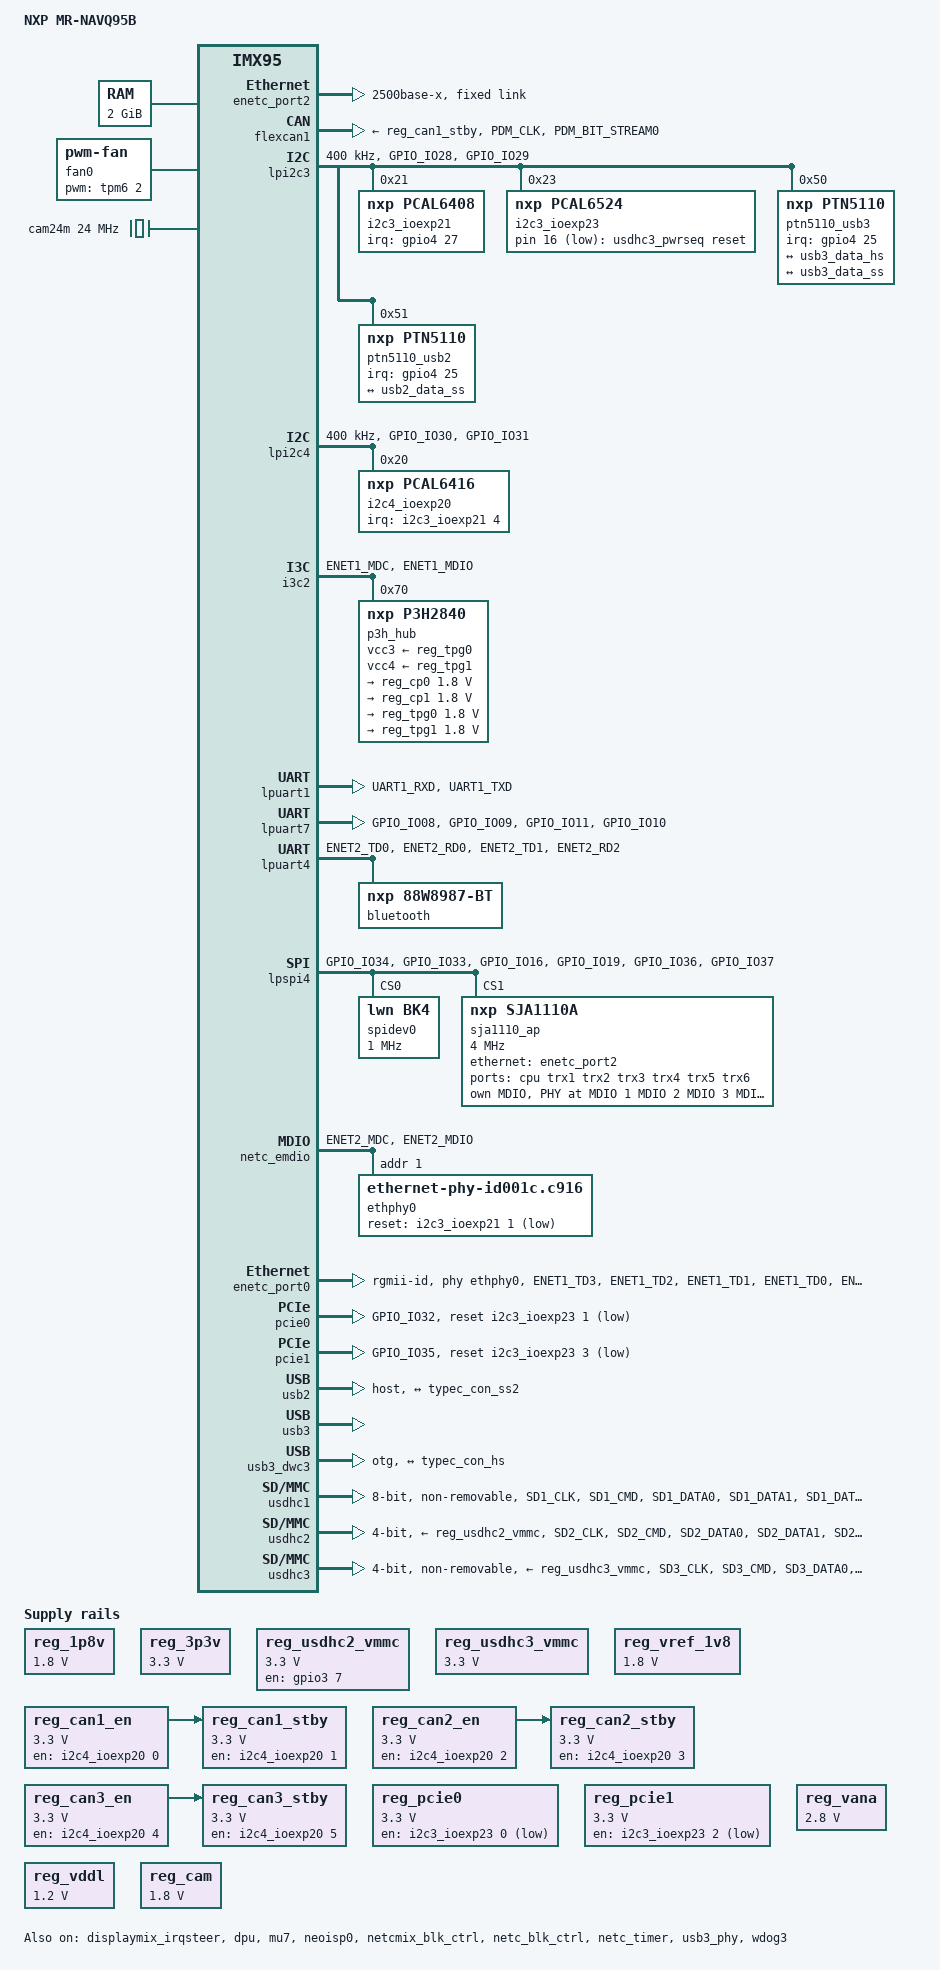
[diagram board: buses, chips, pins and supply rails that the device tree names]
// SPDX-License-Identifier: (GPL-2.0+ OR MIT)
/*
 * Copyright 2026 NXP
 */

/dts-v1/;

#include <dt-bindings/pwm/pwm.h>
#include <dt-bindings/phy/phy-imx8-pcie.h>
#include <dt-bindings/usb/pd.h>
#include "imx95.dtsi"

#define FALLING_EDGE			1
#define RISING_EDGE			2

#define BRD_SM_CTRL_SD3_WAKE		0x8000	/* PCAL6408A-0 */
#define BRD_SM_CTRL_PCIE1_WAKE		0x8001	/* PCAL6408A-4 */
#define BRD_SM_CTRL_BT_WAKE		0x8002	/* PCAL6408A-5 */
#define BRD_SM_CTRL_PCIE2_WAKE		0x8003	/* PCAL6408A-6 */
#define BRD_SM_CTRL_BUTTON		0x8004	/* PCAL6408A-7 */

&ele_if0 {
	memory-region = <&ele_reserved>;
};

/ {
	model = "NXP MR-NAVQ95B";
	compatible = "fsl,imx95-navqb", "fsl,imx95";

	aliases {
		ethernet0 = &enetc_port0;
		ethernet1 = &enetc_port2;
		mmc0 = &usdhc1;
		mmc1 = &usdhc2;
		serial0 = &lpuart1;
	};

	chosen {
		stdout-path = &lpuart1;
		#address-cells = <2>;
		#size-cells = <2>;
		/* will be updated by U-boot when booting Xen */
		module@0 {
			bootargs = "earlycon=xen console=hvc0 loglevel=8 root=/dev/mmcblk1p2 rw rootwait";
			compatible = "xen,linux-zimage", "xen,multiboot-module";
			reg = <0x00000000 0x9e000000 0x00000000 0x2000000>;
		};
	};

	memory@80000000 {
		device_type = "memory";
		reg = <0x0 0x80000000 0 0x80000000>;
	};

	fan0: pwm-fan {
		compatible = "pwm-fan";
		#cooling-cells = <2>;
		pwms = <&tpm6 2 4000000 PWM_POLARITY_INVERTED>;
		cooling-levels = <64 128 192 255>;
	};

	reserved-memory {
		#address-cells = <2>;
		#size-cells = <2>;
		ranges;

		linux_cma: linux,cma {
			compatible = "shared-dma-pool";
			alloc-ranges = <0 0x80000000 0 0x7f000000>;
			size = <0 0x3c000000>;
			linux,cma-default;
			reusable;
		};

		vpu_boot: vpu_boot@a0000000 {
			reg = <0 0xa0000000 0 0x100000>;
			no-map;
		};

		mali_protected: mali_protected {
			reg = <0 0xa0100000 0 0x1000000>;
			no-map;
		};

		vdev0vring0: vdev0vring0@88000000 {
			reg = <0 0x88000000 0 0x8000>;
			no-map;
		};

		vdev0vring1: vdev0vring1@88008000 {
			reg = <0 0x88008000 0 0x8000>;
			no-map;
		};

		vdev1vring0: vdev1vring0@88010000 {
			reg = <0 0x88010000 0 0x8000>;
			no-map;
		};

		vdev1vring1: vdev1vring1@88018000 {
			reg = <0 0x88018000 0 0x8000>;
			no-map;
		};

		rsc_table: rsc-table@88220000 {
			reg = <0 0x88220000 0 0x1000>;
			no-map;
		};

		vdevbuffer: vdevbuffer@88020000 {
			compatible = "shared-dma-pool";
			reg = <0 0x88020000 0 0x100000>;
			no-map;
		};

		ele_reserved: ele-reserved@a4120000 {
			compatible = "shared-dma-pool";
			reg = <0 0xa4120000 0 0x100000>;
			no-map;
		};

		m7text: m7text@90000000 {
			reg = <0 0x90000000 0 0x400000>;
			no-map;
		};

                uboolspl: uboolspl@88240000 {
	                reg = <0 0x88240000 0 0x58000>;
			no-map;
                };
	};

	reg_1p8v: regulator-1p8v {
		compatible = "regulator-fixed";
		regulator-max-microvolt = <1800000>;
		regulator-min-microvolt = <1800000>;
		regulator-name = "+V1.8_SW";
	};

	reg_3p3v: regulator-3p3v {
		compatible = "regulator-fixed";
		regulator-max-microvolt = <3300000>;
		regulator-min-microvolt = <3300000>;
		regulator-name = "+V3.3_SW";
	};

	reg_usdhc2_vmmc: regulator-usdhc2 {
		compatible = "regulator-fixed";
		pinctrl-names = "default";
		pinctrl-0 = <&pinctrl_reg_usdhc2_vmmc>;
		regulator-name = "VDD_SD2_3V3";
		regulator-min-microvolt = <3300000>;
		regulator-max-microvolt = <3300000>;
		gpio = <&gpio3 7 GPIO_ACTIVE_HIGH>;
		enable-active-high;
		off-on-delay-us = <12000>;
	};

	reg_usdhc3_vmmc: regulator-usdhc3 {
		compatible = "regulator-fixed";
		regulator-name = "vmmcusdhc3_fixed";
		regulator-min-microvolt = <3300000>;
		regulator-max-microvolt = <3300000>;
	};

	reg_vref_1v8: regulator-adc-vref {
		compatible = "regulator-fixed";
		regulator-name = "vref_1v8";
		regulator-min-microvolt = <1800000>;
		regulator-max-microvolt = <1800000>;
	};

	reg_can1_stby: regulator-can1-stby {
		compatible = "regulator-fixed";
		regulator-name = "can1-stby";
		regulator-min-microvolt = <3300000>;
		regulator-max-microvolt = <3300000>;
		gpio = <&i2c4_ioexp20 1 GPIO_ACTIVE_HIGH>;
		enable-active-high;
		vin-supply = <&reg_can1_en>;
	};

	reg_can1_en: regulator-can1-en {
		compatible = "regulator-fixed";
		regulator-name = "can1-en";
		regulator-min-microvolt = <3300000>;
		regulator-max-microvolt = <3300000>;
		gpio = <&i2c4_ioexp20 0 GPIO_ACTIVE_HIGH>;
		enable-active-high;
	};

	reg_can2_stby: regulator-can2-stby {
		compatible = "regulator-fixed";
		regulator-name = "can2-stby";
		regulator-min-microvolt = <3300000>;
		regulator-max-microvolt = <3300000>;
		gpio = <&i2c4_ioexp20 3 GPIO_ACTIVE_HIGH>;
		enable-active-high;
		vin-supply = <&reg_can2_en>;
	};

	reg_can2_en: regulator-can2-en {
		compatible = "regulator-fixed";
		regulator-name = "can2-en";
		regulator-min-microvolt = <3300000>;
		regulator-max-microvolt = <3300000>;
		gpio = <&i2c4_ioexp20 2 GPIO_ACTIVE_HIGH>;
		enable-active-high;
	};

	reg_can3_stby: regulator-can3-stby {
		compatible = "regulator-fixed";
		regulator-name = "can3-stby";
		regulator-min-microvolt = <3300000>;
		regulator-max-microvolt = <3300000>;
		gpio = <&i2c4_ioexp20 5 GPIO_ACTIVE_HIGH>;
		enable-active-high;
		vin-supply = <&reg_can3_en>;
	};

	reg_can3_en: regulator-can3-en {
		compatible = "regulator-fixed";
		regulator-name = "can3-en";
		regulator-min-microvolt = <3300000>;
		regulator-max-microvolt = <3300000>;
		gpio = <&i2c4_ioexp20 4 GPIO_ACTIVE_HIGH>;
		enable-active-high;
	};

	usdhc3_pwrseq: usdhc3-pwrseq {
		compatible = "mmc-pwrseq-simple";
		reset-gpios = <&i2c3_ioexp23 16 (GPIO_ACTIVE_LOW | GPIO_OPEN_DRAIN)>;
		post-power-on-delay-ms = <200>;
	};

	reg_pcie0: regulator-pcie0 {
		compatible = "regulator-fixed";
		regulator-name = "M2_KEYM_PWREN_B";
		regulator-min-microvolt = <3300000>;
		regulator-max-microvolt = <3300000>;
		gpio = <&i2c3_ioexp23 0 (GPIO_ACTIVE_LOW | GPIO_OPEN_DRAIN)>;
		enable-active-low;
		/*
		 * This endpoint needs a clean power cycle and a long settle
		 * before PERST# is de-asserted (see fsl,ep-power-cycle on the
		 * PCIe port, which power-cycles this rail with PERST# held):
		 *  - off-on-delay-us:  minimum off time during the power cycle.
		 *  - startup-delay-us: supply-stable-to-ready time the endpoint
		 *    needs after its 3.3V rail comes up.
		 */
		off-on-delay-us = <100000>;
		startup-delay-us = <2300000>;
	};

	reg_pcie1: regulator-pcie1 {
		compatible = "regulator-fixed";
		regulator-name = "M2_KEYB_PWREN_B";
		regulator-min-microvolt = <3300000>;
		regulator-max-microvolt = <3300000>;
		gpio = <&i2c3_ioexp23 2 (GPIO_ACTIVE_LOW | GPIO_OPEN_DRAIN)>;
		enable-active-low;
		regulator-always-on;
	};

	reg_vana: regulator-2p8v {
		compatible = "regulator-fixed";
		regulator-name = "2P8V";
		regulator-min-microvolt = <2800000>;
		regulator-max-microvolt = <2800000>;
	};

	reg_vddl: regulator-1p2v {
		compatible = "regulator-fixed";
		regulator-name = "1P2V";
		regulator-min-microvolt = <1200000>;
		regulator-max-microvolt = <1200000>;
	};

	reg_cam: regulator-cam {
		compatible = "regulator-fixed";
		regulator-name = "reg_cam";
		regulator-min-microvolt = <1800000>;
		regulator-max-microvolt = <1800000>;
	};

	cam24m: cam24m {
		compatible = "fixed-clock";
		#clock-cells = <0>;
		clock-frequency = <24000000>;
		clock-output-names = "cam24m";
	};

	cm7: imx95-cm7 {
		compatible = "fsl,imx95-cm7";
		mbox-names = "tx", "rx", "rxdb";
		mboxes = <&mu7 0 1
			  &mu7 1 1
			  &mu7 3 1>;
		memory-region = <&vdevbuffer>, <&vdev0vring0>, <&vdev0vring1>,
				<&vdev1vring0>, <&vdev1vring1>, <&rsc_table>;
		/* cpuid and lmmid must align with SM firmware */
		fsl,cpu-id = <1>;
		fsl,lmm-id = <1>;
		fsl,startup-delay-ms = <50>;
		status = "okay";
	};

	mali_pma: protected-memory-allocator {
		 compatible = "arm,protected-memory-allocator";
		 memory-region = <&mali_protected>;
	};

};

&adc1 {
	vref-supply = <&reg_vref_1v8>;
	status = "disabled";
};

&enetc_port1 {
	pinctrl-names = "default";
	pinctrl-0 = <&pinctrl_enetc1>;
	phy-mode = "rgmii-id";
	status = "disabled";

	fixed-link {
		speed = <1000>;
		full-duplex;
	};
};

&enetc_port2 {
	phy-mode = "2500base-x";
	status = "disabled";

	fixed-link {
		speed = <2500>;
		full-duplex;
	};
};

&displaymix_irqsteer {
	status = "okay";
};

&dpu {
	status = "okay";
};

/* The M7 also uses the AON.EDMA and sharing isn't supported yet in Linux */
&edma1 {
	status = "disabled";
};

&edma2 {
	dma-channels = <30>;
};

&flexcan1 {
	pinctrl-names = "default";
	pinctrl-0 = <&pinctrl_flexcan1>;
	xceiver-supply = <&reg_can1_stby>;
	status = "okay";
};

&flexcan2 {
	pinctrl-names = "default";
	pinctrl-0 = <&pinctrl_flexcan2>;
	xceiver-supply = <&reg_can2_stby>;
	status = "disabled";
};

&flexcan3 {
	pinctrl-names = "default";
	pinctrl-0 = <&pinctrl_flexcan3>;
	xceiver-supply = <&reg_can3_stby>;
	status = "disabled";
};

&flexspi1 {
	pinctrl-names = "default";
	pinctrl-0 = <&pinctrl_flexspi1>;
	status = "disabled";

	/* TODO co-existence with M7/M33 if even possible */

	mt35xu01gbba: flash@0 {
		compatible = "jedec,spi-nor";
		reg = <0>;
		pinctrl-names = "default";
		pinctrl-0 = <&pinctrl_flexspi1_reset>;
		reset-gpios = <&gpio5 11 GPIO_ACTIVE_LOW>;
		#address-cells = <1>;
		#size-cells = <1>;
		spi-max-frequency = <200000000>;
		spi-tx-bus-width = <8>;
		spi-rx-bus-width = <8>;
	};
};

&lpi2c3 {
	#address-cells = <1>;
	#size-cells = <0>;
	clock-frequency = <400000>;
	pinctrl-names = "default", "sleep";
	pinctrl-0 = <&pinctrl_lpi2c3>;
	pinctrl-1 = <&pinctrl_lpi2c3>;
	status = "okay";

	i2c3_ioexp21: i2c3-gpio@21 {
		compatible = "nxp,pcal6408";
		reg = <0x21>;
		gpio-controller;
		#gpio-cells = <2>;

		pinctrl-names = "default";
		pinctrl-0 = <&pinctrl_i2c3_ioexp21>;
		interrupt-controller;
		#interrupt-cells = <2>;
		interrupt-parent = <&gpio4>;
		interrupts = <27 IRQ_TYPE_LEVEL_LOW>;

		status = "okay";

		rtl8211_pme_int_b: rtl8211-pme-int-b {
			gpio-hog;
			gpios = <0 (GPIO_ACTIVE_LOW)>;
			input;
		};

		// rtl8211_phyrst_b: rtl8211-pme-int-b {
		// 	gpio-hog;
		// 	gpios = <1 (GPIO_ACTIVE_LOW  | GPIO_OPEN_DRAIN)>;
		// 	output-low;
		// };

		/* eth_wake_int can be used for both these SJA1110 i/o depending on R552 and R580:
		 *	- WAKE_IN_OUT (wakeup)
		 *	- INT_N (interrupt)
		 * TODO: remove one resistor; INT_N recommends a pullup but WAKE_IN_OUT pulls it to ground
		 */
		eth_wake_int: eth-wake-int {
			gpio-hog;
			gpios = <2 (GPIO_ACTIVE_LOW)>;
			input;
		};

		// io_wake_int: io-wake-int {
		// 	gpio-hog;
		// 	gpios = <4 (GPIO_ACTIVE_LOW)>;
		// 	input;
		// };
	};

	i2c3_ioexp23: i2c3-gpio@23 {
		compatible = "nxp,pcal6524";
		reg = <0x23>;
		gpio-controller;
		#gpio-cells = <2>;
		status = "okay";

		// m2_keym_pwren_b: m2-keym-pwren-b {
		// 	gpio-hog;
		// 	gpios = <0 (GPIO_ACTIVE_LOW | GPIO_OPEN_DRAIN)>;
		// 	output-high;
		// };

		// m2_keym_perst_b: m2-keym-perst-b {
		// 	gpio-hog;
		// 	gpios = <1 (GPIO_ACTIVE_LOW | GPIO_OPEN_DRAIN)>;
		// 	output-low;
		// };

		// m2_keyb_pwren_b: m2-keyb-pwren-b {
		// 	gpio-hog;
		// 	gpios = <2 (GPIO_ACTIVE_LOW | GPIO_OPEN_DRAIN)>;
		// 	output-high;
		// };

		// m2_keyb_perst_b: m2-keyb-perst-b {
		// 	gpio-hog;
		// 	gpios = <3 (GPIO_ACTIVE_LOW | GPIO_OPEN_DRAIN)>;
		// 	output-low;
		// };

		m2_keyb_fcpo_b: m2-keyb-fcpo-b {
			gpio-hog;
			gpios = <4 (GPIO_ACTIVE_LOW | GPIO_OPEN_DRAIN)>;
			output-low;
		};

		m2_keyb_reset_b: m2-keyb-reset-b {
			gpio-hog;
			gpios = <5 (GPIO_ACTIVE_LOW | GPIO_OPEN_DRAIN)>;
			output-low;
		};

		m2_keyb_wdisable1_b: m2-keyb-wdisable1-b {
			gpio-hog;
			gpios = <6 (GPIO_ACTIVE_LOW | GPIO_OPEN_DRAIN)>;
			output-low;
		};

		m2_keyb_wdisable2_b: m2-keyb-wdisable2-b {
			gpio-hog;
			gpios = <7 (GPIO_ACTIVE_LOW | GPIO_OPEN_DRAIN)>;
			output-low;
		};

		m2_keym_pedet: m2-keym-pedet {
			gpio-hog;
			gpios = <8 GPIO_ACTIVE_LOW>;
			input;
		};

		m2_keyb_config0: m2-keyb-config0 {
			gpio-hog;
			gpios = <9 GPIO_ACTIVE_LOW>;
			input;
		};

		m2_keyb_config1: m2-keyb-config1 {
			gpio-hog;
			gpios = <10 GPIO_ACTIVE_LOW>;
			input;
		};

		m2_keyb_config2: m2-keyb-config2 {
			gpio-hog;
			gpios = <11 GPIO_ACTIVE_LOW>;
			input;
		};

		m2_keyb_config3: m2-keyb-config3 {
			gpio-hog;
			gpios = <12 GPIO_ACTIVE_LOW>;
			input;
		};

		m2_keyb_gpio5: m2-keyb-gpio5 {
			gpio-hog;
			gpios = <13 GPIO_ACTIVE_LOW>;
			input;
		};

		m2_keyb_gpio6: m2-keyb-gpio6 {
			gpio-hog;
			gpios = <14 GPIO_ACTIVE_LOW>;
			input;
		};

		m2_keyb_gpio7: m2-keyb-gpio7 {
			gpio-hog;
			gpios = <15 GPIO_ACTIVE_LOW>;
			input;
		};

		// iw612_pd_b: iw612-pd-b {
		// 	gpio-hog;
		// 	gpios = <16 (GPIO_ACTIVE_LOW | GPIO_OPEN_DRAIN)>;
		// 	output-low;
		// };

		iw612_ind_rst_wl: iw612-ind-rst-wl {
			gpio-hog;
			gpios = <17 GPIO_ACTIVE_HIGH>;
			output-low;
		};

		iw612_ind_rst_bt: iw612-ind-rst-bt {
			gpio-hog;
			gpios = <18 GPIO_ACTIVE_HIGH>;
			output-low;
		};

		iw612_ind_rst_15_4: iw612-ind-rst-15_4 {
			gpio-hog;
			gpios = <19 GPIO_ACTIVE_HIGH>;
			output-low;
		};

		iw612_rst_ind: iw612-rst-ind {
			gpio-hog;
			gpios = <20 GPIO_ACTIVE_HIGH>;
			input;
		};

		iw612_wl_wake_in: iw612-wl-wake-in {
			gpio-hog;
			gpios = <21 GPIO_ACTIVE_HIGH>;
			output-low;
		};

		iw612_bt15_4_wake_in: iw612-bt15-4-wake-in {
			gpio-hog;
			gpios = <22 GPIO_ACTIVE_HIGH>;
			output-low;
		};

		p3h_cp_sel: p3h-cp-sel {
			gpio-hog;
			gpios = <23 GPIO_ACTIVE_HIGH>;
			/* set to CP0 */
			output-high;
		};
	};

	ptn5110_usb3: tcpc_usb3@50 {
		compatible = "nxp,ptn5110", "tcpci";
		reg = <0x50>;
		pinctrl-names = "default";
		interrupt-parent = <&gpio4>;
		interrupts = <25 IRQ_TYPE_LEVEL_LOW>; // 25 = USB_PTN5110_ALERT_B (ENET2_RD1)


		typec_con3: connector {
			compatible = "usb-c-connector";
			label = "USB1 3.0 Type C";
			power-role = "source";
			data-role = "dual";
			try-power-role = "source";
			source-pdos = <PDO_FIXED(5000, 3000, PDO_FIXED_USB_COMM)>;
			op-sink-microwatt = <0>;
			self-powered;

			ports {
				#address-cells = <1>;
				#size-cells = <0>;

				port@0 {
					reg = <0>;

					typec_con_hs: endpoint {
						remote-endpoint = <&usb3_data_hs>;
					};
				};

				port@1 {
					reg = <1>;

					typec_con_ss: endpoint {
						remote-endpoint = <&usb3_data_ss>;
					};
				};
			};
		};
	};

	ptn5110_usb2: tcpc_usb2@51 {
		compatible = "nxp,ptn5110", "tcpci";
		reg = <0x51>;
		pinctrl-names = "default";
		pinctrl-0 = <&pinctrl_ptn5110_usb>;
		interrupt-parent = <&gpio4>;
		interrupts = <25 IRQ_TYPE_LEVEL_LOW>; // 25 = USB_PTN5110_ALERT_B (ENET2_RD1)

		typec_con2: connector {
			compatible = "usb-c-connector";
			label = "USB2 2.0 Type C";
			power-role = "source";
			data-role = "dual";
			try-power-role = "source";
			source-pdos = <PDO_FIXED(5000, 3000, PDO_FIXED_USB_COMM)>;
			op-sink-microwatt = <0>;
			self-powered;

			ports {
				#address-cells = <1>;
				#size-cells = <0>;

				port@1 {
					reg = <1>;
					typec_con_ss2: endpoint {
						remote-endpoint = <&usb2_data_ss>;
					};
				};
			};
		};
	};
};

&lpi2c4 {
	#address-cells = <1>;
	#size-cells = <0>;
	clock-frequency = <400000>;
	pinctrl-names = "default", "sleep";
	pinctrl-0 = <&pinctrl_lpi2c4>;
	pinctrl-1 = <&pinctrl_lpi2c4>;
	status = "okay";

	i2c4_ioexp20: i2c4-gpio@20 {
		compatible = "nxp,pcal6416";
		reg = <0x20>;
		gpio-controller;
		#gpio-cells = <2>;

		interrupt-controller;
		#interrupt-cells = <2>;
		interrupt-parent = <&i2c3_ioexp21>;
		interrupts = <4 IRQ_TYPE_EDGE_FALLING>;

		status = "okay";

		can_power_en: can-power-en {
			gpio-hog;
			gpios = <7 GPIO_ACTIVE_HIGH>;
			output-high;
		};

		can1_err_n: can1-err-n {
			gpio-hog;
			gpios = <8 GPIO_ACTIVE_LOW>;
			input;
		};

		can2_err_n: can2-err-n {
			gpio-hog;
			gpios = <9 GPIO_ACTIVE_LOW>;
			input;
		};

		can3_err_n: can3-err-n {
			gpio-hog;
			gpios = <10 GPIO_ACTIVE_LOW>;
			input;
		};

		led_r: led-r {
			gpio-hog;
			gpios = <11 GPIO_ACTIVE_HIGH>;
			output-low;
		};

		led_g: led-g {
			gpio-hog;
			gpios = <12 GPIO_ACTIVE_HIGH>;
			output-high;
		};

		led_b: led-b {
			gpio-hog;
			gpios = <13 GPIO_ACTIVE_HIGH>;
			output-high;
		};

		sw_led_out: sw-led-out {
			gpio-hog;
			gpios = <15 GPIO_ACTIVE_HIGH>;
			output-high;
		};
	};
};

&i3c2 {
	i2c-scl-hz = <400000>;
	pinctrl-0 = <&pinctrl_i3c2>;
	pinctrl-1 = <&pinctrl_i3c2_sleep>;
	pinctrl-names = "default", "sleep";
	status = "okay";

    p3h_hub: hub@70,236153000c2 {
		compatible = "nxp,p3h2840";
		reg = <0x70 0x236 0x3000c2>;
		#address-cells = <1>;
		#size-cells = <0>;
		assigned-address = <0x50>;

		/*
		 * Target ports placed in GPIO mode (gpio@N sub-nodes) are
		 * exposed through a single gpiochip on this node.
		 * Line map: offset 0-7 = TP0-7 SCL pin, 8-15 = TP0-7 SDA pin.
		 */
		gpio-controller;
		#gpio-cells = <2>;

		nxp,tp0145-pullup-ohms = <1000>;
		nxp,tp2367-pullup-ohms = <1000>;
		nxp,cp0-io-strength-ohms = <50>;
		nxp,cp1-io-strength-ohms = <50>;
		nxp,tp0145-io-strength-ohms = <50>;
		nxp,tp2367-io-strength-ohms = <50>;
		vcc3-supply = <&reg_tpg0>;
		vcc4-supply = <&reg_tpg1>;

		regulators {
			reg_cp0: ldo-cp0 {
				regulator-name = "ldo-cp0";
				regulator-min-microvolt = <1800000>;
				regulator-max-microvolt = <1800000>;
			};

			reg_cp1: ldo-cp1 {
				regulator-name = "ldo-cp1";
				regulator-min-microvolt = <1800000>;
				regulator-max-microvolt = <1800000>;
			};

			reg_tpg0: ldo-tpg0 {
				regulator-name = "ldo-tpg0";
				regulator-min-microvolt = <1800000>;
				regulator-max-microvolt = <1800000>;
			};

			reg_tpg1: ldo-tpg1 {
				regulator-name = "ldo-tpg1";
				regulator-min-microvolt = <1800000>;
				regulator-max-microvolt = <1800000>;
			};
		};

		p3h_i3c2a: smbus@0 {
			reg = <0x0>;
			#address-cells = <1>;
			#size-cells = <0>;
            nxp,pullup-enable;
		};

		/*
		 * CAM connector 1 (port A) control bus -> MIPI CSI0.
		 * The camera sensor node is supplied by a camera overlay
		 * (imx95-navqb-cam0-*.dtbo).
		 */
		p3h_i3c2b: smbus@1 {
			reg = <0x1>;
			#address-cells = <1>;
			#size-cells = <0>;
            nxp,pullup-enable;
		};

		p3h_gpio: gpio@2 {
			reg = <0x2>;
			#address-cells = <1>;
			#size-cells = <0>;
            nxp,pullup-enable;
		};

		p3h_m2_bus: smbus@3 {
			reg = <0x3>;
			#address-cells = <1>;
			#size-cells = <0>;
            nxp,pullup-enable;
		};

		p3h_i3c2c: smbus@4 {
			reg = <0x4>;
			#address-cells = <1>;
			#size-cells = <0>;
            nxp,pullup-enable;
			clock-frequency = <100000>;
		};

		p3h_se_smbus: smbus@5 {
			reg = <0x5>;
			#address-cells = <1>;
			#size-cells = <0>;
            nxp,pullup-enable;
		};

		p3h_cam1_io: gpio@6 {
			reg = <0x6>;
			#address-cells = <1>;
			#size-cells = <0>;
			/* TP6 in GPIO mode: SCL = line 6, SDA = line 14.
			 * Used for CAM connector 1 (port A / csi0) reset/enable.
			 */
		};

		p3h_cam2_io: gpio@7 {
			reg = <0x7>;
			#address-cells = <1>;
			#size-cells = <0>;
			/* TP7 in GPIO mode: SCL = line 7, SDA = line 15.
			 * Used for CAM connector 2 (port B / csi1) reset/enable.
			 */
		};
	};
};

&lpuart1 {
	/* console */
	pinctrl-names = "default";
	pinctrl-0 = <&pinctrl_uart1>;
	/delete-property/ dmas;
	/delete-property/ dma-names;
	status = "okay";
};

&lpuart7 {
	/* Lidar */
	pinctrl-names = "default";
	pinctrl-0 = <&pinctrl_uart7>;
	uart-has-rtscts;
	status = "okay";
};

&lpuart4 {
	/* BT */
	pinctrl-names = "default";
	pinctrl-0 = <&pinctrl_uart4>;
	uart-has-rtscts;
	status = "okay";

	bluetooth {
		compatible = "nxp,88w8987-bt";
	};
};

&lpspi4 {
	fsl,spi-num-chipselects = <3>;
	pinctrl-names = "default";
	pinctrl-0 = <&pinctrl_lpspi4>;
	num-cs = <3>;
	status = "okay";

	spidev0: spi@0 { //TODO triradio
		reg = <0>;
		compatible = "lwn,bk4";
		spi-max-frequency = <1000000>;
	};

	sja1110_ap: ethernet-switch@1 { // SPI_HAP_SS0_N s (SPI access point)
		compatible = "nxp,sja1110a";
		reg = <1>;
		spi-max-frequency = <4000000>;
		dsa,member = <0 0>;

		ethernet-ports {
			#address-cells = <1>;
			#size-cells = <0>;

			/* Microcontroller port */
			port@0 {
				reg = <0>;
				status = "disabled";
			};

			/* TODO: TJA1120 */
			port@1 {
				reg = <1>;
				status = "disabled";
			};

			/* TODO: TJA1120 */
			port@2 {
				reg = <2>;
				status = "disabled";
			};

			/* Not used */
			port@3 {
				reg = <3>;
				status = "disabled";
			};

			port@4 {
				reg = <4>;
				label = "cpu";
				phy-mode = "2500base-x";
				ethernet = <&enetc_port2>;
				status = "okay";

				fixed-link {
					speed = <2500>;
					full-duplex;
				};
			};

			port@5 {
				reg = <5>;
				label = "trx1";
				phy-mode = "internal";
				phy-handle = <&sw1_port5_base_t1_phy>;
			};

			port@6 {
				reg = <6>;
				label = "trx2";
				phy-mode = "internal";
				phy-handle = <&sw1_port6_base_t1_phy>;
			};

			port@7 {
				reg = <7>;
				label = "trx3";
				phy-mode = "internal";
				phy-handle = <&sw1_port7_base_t1_phy>;
			};

			port@8 {
				reg = <8>;
				label = "trx4";
				phy-mode = "internal";
				phy-handle = <&sw1_port8_base_t1_phy>;
			};

			port@9 {
				reg = <9>;
				label = "trx5";
				phy-mode = "internal";
				phy-handle = <&sw1_port9_base_t1_phy>;
			};

			port@a {
				reg = <10>;
				label = "trx6";
				phy-mode = "internal";
				phy-handle = <&sw1_port10_base_t1_phy>;
			};
		};

		mdios {
			#address-cells = <1>;
			#size-cells = <0>;

			mdio@0 {
				compatible = "nxp,sja1110-base-t1-mdio";
				#address-cells = <1>;
				#size-cells = <0>;
				reg = <0>;

				sw1_port5_base_t1_phy: ethernet-phy@1 {
					compatible = "ethernet-phy-ieee802.3-c45";
					reg = <0x1>;
				};

				sw1_port6_base_t1_phy: ethernet-phy@2 {
					compatible = "ethernet-phy-ieee802.3-c45";
					reg = <0x2>;
				};

				sw1_port7_base_t1_phy: ethernet-phy@3 {
					compatible = "ethernet-phy-ieee802.3-c45";
					reg = <0x3>;
				};

				sw1_port8_base_t1_phy: ethernet-phy@4 {
					compatible = "ethernet-phy-ieee802.3-c45";
					reg = <0x4>;
				};

				sw1_port9_base_t1_phy: ethernet-phy@5 {
					compatible = "ethernet-phy-ieee802.3-c45";
					reg = <0x5>;
				};

				sw1_port10_base_t1_phy: ethernet-phy@6 {
					compatible = "ethernet-phy-ieee802.3-c45";
					reg = <0x6>;
				};
			};
		};
	};
};

&mu7 {
	status = "okay";
};

&neoisp0 {
	status = "okay";
};

&netcmix_blk_ctrl {
	status = "okay";
};

&netc_blk_ctrl {
	status = "okay";
};

&netc_emdio {
	pinctrl-names = "default";
	pinctrl-0 = <&pinctrl_emdio>;
	status = "okay";

	ethphy0: ethernet-phy@1 {
		compatible = "ethernet-phy-id001c.c916",   /* RTL8211F */
                        "ethernet-phy-ieee802.3-c22";
		reg = <1>;
		reset-gpios = <&i2c3_ioexp21 1 GPIO_ACTIVE_LOW>;
		reset-assert-us = <10000>;
		reset-deassert-us = <80000>;
		realtek,clkout-disable;
	};
};

&enetc_port0 {
	pinctrl-names = "default";
	pinctrl-0 = <&pinctrl_enetc0>;
	phy-handle = <&ethphy0>;
	phy-mode = "rgmii-id";
	status = "okay";
};

&enetc_port2 {
	status = "okay";
};

&netc_timer {
	status = "okay";
};

&pcie0 {
	pinctrl-0 = <&pinctrl_pcie0>;
	pinctrl-names = "default";
	fsl,refclk-pad-mode = <IMX8_PCIE_REFCLK_PAD_OUTPUT>;
	fsl,ep-power-cycle;
	reset-gpio = <&i2c3_ioexp23 1 (GPIO_ACTIVE_LOW | GPIO_OPEN_DRAIN)>;
	vpcie-supply = <&reg_pcie0>;
	status = "okay";
};

&pcie0_ep {
	pinctrl-0 = <&pinctrl_pcie0>;
	pinctrl-names = "default";
	vpcie-supply = <&reg_pcie0>;
	status = "okay";
};

&pcie1 {
	pinctrl-0 = <&pinctrl_pcie1>;
	pinctrl-names = "default";
	fsl,refclk-pad-mode = <IMX8_PCIE_REFCLK_PAD_OUTPUT>;
	reset-gpio = <&i2c3_ioexp23 3 (GPIO_ACTIVE_LOW | GPIO_OPEN_DRAIN)>;
	vpcie-supply = <&reg_pcie1>;
	status = "okay";
};

&pcie1_ep {
	pinctrl-0 = <&pinctrl_pcie1>;
	pinctrl-names = "default";
	fsl,refclk-pad-mode = <IMX8_PCIE_REFCLK_PAD_OUTPUT>;
	vpcie-supply = <&reg_pcie1>;
	status = "okay";
};

&dpu {
	assigned-clocks = <&scmi_clk IMX95_CLK_DISP1PIX>,
			  <&scmi_clk IMX95_CLK_VIDEOPLL1_VCO>,
			  <&scmi_clk IMX95_CLK_VIDEOPLL1>;
	assigned-clock-parents = <&scmi_clk IMX95_CLK_VIDEOPLL1>;
	assigned-clock-rates = <0>, <3000000000>, <333333333>;
};

/*
 * Camera capture pipelines (CSI0 / CSI1 -> formatter -> ISI) and the sensors
 * themselves are provided by camera overlays (imx95-navqb-cam0-*.dtbo for
 * port A, imx95-navqb-cam1-*.dtbo for port B). Port B is a CSI/DSI combo port,
 * so a camera overlay there is mutually exclusive with a display overlay.
 */

&usb2 {
	dr_mode = "host";
	disable-over-current;
	status = "okay";

	port {
		usb2_data_ss: endpoint {
			remote-endpoint = <&typec_con_ss2>;
		};
	};

};

&usb3 {
	status = "okay";
};

&usb3_dwc3 {
	dr_mode = "otg";
	hnp-disable;
	srp-disable;
	adp-disable;
	usb-role-switch;
	role-switch-default-mode = "none";
	snps,dis-u1-entry-quirk;
	snps,dis-u2-entry-quirk;
	status = "okay";

	port {
		usb3_data_hs: endpoint {
			remote-endpoint = <&typec_con_hs>;
		};
	};
};

&usb3_phy {
	fsl,phy-pcs-tx-deemph-3p5db-attenuation-db = <17>;
	fsl,phy-pcs-tx-swing-full-percent = <100>;
	fsl,phy-tx-preemp-amp-tune-microamp = <600>;
	fsl,phy-tx-vboost-level-microvolt = <1156>;
	fsl,phy-tx-vref-tune-percent = <100>;
	orientation-switch;
	status = "okay";

	port {
		usb3_data_ss: endpoint {
			remote-endpoint = <&typec_con_ss>;
		};
	};
};

&usdhc1 {
	pinctrl-names = "default", "state_100mhz", "state_200mhz", "sleep";
	pinctrl-0 = <&pinctrl_usdhc1>;
	pinctrl-1 = <&pinctrl_usdhc1_100mhz>;
	pinctrl-2 = <&pinctrl_usdhc1_200mhz>;
	pinctrl-3 = <&pinctrl_usdhc1>;
	bus-width = <8>;
	non-removable;
	no-sdio;
	no-sd;
	status = "okay";
};

&usdhc2 {
	pinctrl-names = "default", "state_100mhz", "state_200mhz", "sleep";
	pinctrl-0 = <&pinctrl_usdhc2>, <&pinctrl_usdhc2_gpio>;
	pinctrl-1 = <&pinctrl_usdhc2_100mhz>, <&pinctrl_usdhc2_gpio>;
	pinctrl-2 = <&pinctrl_usdhc2_200mhz>, <&pinctrl_usdhc2_gpio>;
	pinctrl-3 = <&pinctrl_usdhc2>, <&pinctrl_usdhc2_gpio>;
	cd-gpios = <&gpio3 0 GPIO_ACTIVE_LOW>;
	fsl,cd-gpio-wakeup-disable;
	vmmc-supply = <&reg_usdhc2_vmmc>;
	bus-width = <4>;
	status = "okay";
};

&usdhc3 {
	pinctrl-names = "default";
	pinctrl-0 = <&pinctrl_usdhc3>;
	vmmc-supply = <&reg_usdhc3_vmmc>;
	mmc-pwrseq = <&usdhc3_pwrseq>;
	bus-width = <4>;
	keep-power-in-suspend;
	non-removable;
	status = "okay";
};

&scmi_misc {
	nxp,ctrl-ids = <BRD_SM_CTRL_SD3_WAKE	FALLING_EDGE
			BRD_SM_CTRL_PCIE1_WAKE	FALLING_EDGE
			BRD_SM_CTRL_BT_WAKE	FALLING_EDGE
			BRD_SM_CTRL_PCIE2_WAKE	FALLING_EDGE
			BRD_SM_CTRL_BUTTON	FALLING_EDGE>;
};

&wdog3 {
	fsl,ext-reset-output;
	status = "okay";
};

&scmi_iomuxc {

	pinctrl_emdio: emdiogrp {
		fsl,pins = <
			IMX95_PAD_ENET2_MDC__NETCMIX_TOP_NETC_MDC		0x57e
			IMX95_PAD_ENET2_MDIO__NETCMIX_TOP_NETC_MDIO		0x97e
		>;
	};

	pinctrl_enetc0: enetc0grp {
		fsl,pins = <
			IMX95_PAD_ENET1_TD3__NETCMIX_TOP_ETH0_RGMII_TD3		0x57e
			IMX95_PAD_ENET1_TD2__NETCMIX_TOP_ETH0_RGMII_TD2		0x57e
			IMX95_PAD_ENET1_TD1__NETCMIX_TOP_ETH0_RGMII_TD1		0x57e
			IMX95_PAD_ENET1_TD0__NETCMIX_TOP_ETH0_RGMII_TD0		0x57e
			IMX95_PAD_ENET1_TX_CTL__NETCMIX_TOP_ETH0_RGMII_TX_CTL	0x57e
			IMX95_PAD_ENET1_TXC__NETCMIX_TOP_ETH0_RGMII_TX_CLK	0x58e
			IMX95_PAD_ENET1_RX_CTL__NETCMIX_TOP_ETH0_RGMII_RX_CTL	0x57e
			IMX95_PAD_ENET1_RXC__NETCMIX_TOP_ETH0_RGMII_RX_CLK	0x58e
			IMX95_PAD_ENET1_RD0__NETCMIX_TOP_ETH0_RGMII_RD0		0x57e
			IMX95_PAD_ENET1_RD1__NETCMIX_TOP_ETH0_RGMII_RD1		0x57e
			IMX95_PAD_ENET1_RD2__NETCMIX_TOP_ETH0_RGMII_RD2		0x57e
			IMX95_PAD_ENET1_RD3__NETCMIX_TOP_ETH0_RGMII_RD3		0x57e
		>;
	};

	pinctrl_enetc1: enetc1grp {
		fsl,pins = <
			IMX95_PAD_ENET2_TD3__NETCMIX_TOP_ETH1_RGMII_TD3		0x03e
			IMX95_PAD_ENET2_TD2__NETCMIX_TOP_ETH1_RGMII_TD2		0x03e
			IMX95_PAD_ENET2_TD1__NETCMIX_TOP_ETH1_RGMII_TD1		0x03e
			IMX95_PAD_ENET2_TD0__NETCMIX_TOP_ETH1_RGMII_TD0		0x03e
			IMX95_PAD_ENET2_TX_CTL__NETCMIX_TOP_ETH1_RGMII_TX_CTL	0x03e
			IMX95_PAD_ENET2_TXC__NETCMIX_TOP_ETH1_RGMII_TX_CLK	0x006
			IMX95_PAD_ENET2_RX_CTL__NETCMIX_TOP_ETH1_RGMII_RX_CTL	0x03e
			IMX95_PAD_ENET2_RXC__NETCMIX_TOP_ETH1_RGMII_RX_CLK	0x006
			IMX95_PAD_ENET2_RD0__NETCMIX_TOP_ETH1_RGMII_RD0		0x03e
			IMX95_PAD_ENET2_RD1__NETCMIX_TOP_ETH1_RGMII_RD1		0x03e
			IMX95_PAD_ENET2_RD2__NETCMIX_TOP_ETH1_RGMII_RD2		0x03e
			IMX95_PAD_ENET2_RD3__NETCMIX_TOP_ETH1_RGMII_RD3		0x03e
		>;
	};

	pinctrl_flexcan1: flexcan1grp {
		fsl,pins = <
			IMX95_PAD_PDM_CLK__AONMIX_TOP_CAN1_TX		0x39e
			IMX95_PAD_PDM_BIT_STREAM0__AONMIX_TOP_CAN1_RX	0x39e
		>;
	};

	pinctrl_flexcan2: flexcan2grp {
		fsl,pins = <
			IMX95_PAD_GPIO_IO25__CAN2_TX			0x39e
			IMX95_PAD_GPIO_IO27__CAN2_RX			0x39e
		>;
	};

	pinctrl_flexcan3: flexcan3grp {
		fsl,pins = <
			IMX95_PAD_CCM_CLKO3__CAN3_TX			0x39e
			IMX95_PAD_CCM_CLKO4__CAN3_RX			0x39e
		>;
	};

	pinctrl_flexspi1: flexspi1grp {
		fsl,pins = <
			IMX95_PAD_XSPI1_SS0_B__FLEXSPI1_A_SS0_B			0x3fe
			IMX95_PAD_XSPI1_SCLK__FLEXSPI1_A_SCLK			0x07e
			IMX95_PAD_XSPI1_DQS__FLEXSPI1_A_DQS			0x07e
			IMX95_PAD_XSPI1_DATA0__FLEXSPI1_A_DATA_BIT0		0x002
			IMX95_PAD_XSPI1_DATA1__FLEXSPI1_A_DATA_BIT1		0x002
			IMX95_PAD_XSPI1_DATA2__FLEXSPI1_A_DATA_BIT2		0x002
			IMX95_PAD_XSPI1_DATA3__FLEXSPI1_A_DATA_BIT3		0x002
			IMX95_PAD_XSPI1_DATA4__FLEXSPI1_A_DATA_BIT4		0x002
			IMX95_PAD_XSPI1_DATA5__FLEXSPI1_A_DATA_BIT5		0x002
			IMX95_PAD_XSPI1_DATA6__FLEXSPI1_A_DATA_BIT6		0x002
			IMX95_PAD_XSPI1_DATA7__FLEXSPI1_A_DATA_BIT7		0x002
		>;
	};

	pinctrl_flexspi1_reset: flexspi1-reset-grp {
		fsl,pins = <
			IMX95_PAD_XSPI1_SS1_B__GPIO5_IO_BIT11			0x3fe
		>;
	};

	pinctrl_lpi2c3: lpi2c3grp {
		fsl,pins = <
			IMX95_PAD_GPIO_IO28__LPI2C3_SDA			0x40000b9e
			IMX95_PAD_GPIO_IO29__LPI2C3_SCL			0x40000b9e
		>;
	};

	pinctrl_lpi2c4: lpi2c4grp {
		fsl,pins = <
			IMX95_PAD_GPIO_IO30__LPI2C4_SDA			0x40000b9e
			IMX95_PAD_GPIO_IO31__LPI2C4_SCL			0x40000b9e
		>;
	};

	pinctrl_pcie0: pcie0grp {
		fsl,pins = <
			IMX95_PAD_GPIO_IO32__HSIOMIX_TOP_PCIE1_CLKREQ_B		0x40000b1e
		>;
	};

	pinctrl_pcie1: pcie1grp {
		fsl,pins = <
			IMX95_PAD_GPIO_IO35__HSIOMIX_TOP_PCIE2_CLKREQ_B		0x40000b1e
		>;
	};

	pinctrl_uart1: uart1grp {
		fsl,pins = <
			IMX95_PAD_UART1_RXD__AONMIX_TOP_LPUART1_RX	0x31e
			IMX95_PAD_UART1_TXD__AONMIX_TOP_LPUART1_TX	0x31e
		>;
	};

	pinctrl_usdhc1: usdhc1grp {
		fsl,pins = <
			IMX95_PAD_SD1_CLK__USDHC1_CLK			0x158e
			IMX95_PAD_SD1_CMD__USDHC1_CMD			0x138e
			IMX95_PAD_SD1_DATA0__USDHC1_DATA0		0x138e
			IMX95_PAD_SD1_DATA1__USDHC1_DATA1		0x138e
			IMX95_PAD_SD1_DATA2__USDHC1_DATA2		0x138e
			IMX95_PAD_SD1_DATA3__USDHC1_DATA3		0x138e
			IMX95_PAD_SD1_DATA4__USDHC1_DATA4		0x138e
			IMX95_PAD_SD1_DATA5__USDHC1_DATA5		0x138e
			IMX95_PAD_SD1_DATA6__USDHC1_DATA6		0x138e
			IMX95_PAD_SD1_DATA7__USDHC1_DATA7		0x138e
			IMX95_PAD_SD1_STROBE__USDHC1_STROBE		0x158e
		>;
	};

	pinctrl_usdhc1_100mhz: usdhc1-100mhzgrp {
		fsl,pins = <
			IMX95_PAD_SD1_CLK__USDHC1_CLK			0x158e
			IMX95_PAD_SD1_CMD__USDHC1_CMD			0x138e
			IMX95_PAD_SD1_DATA0__USDHC1_DATA0		0x138e
			IMX95_PAD_SD1_DATA1__USDHC1_DATA1		0x138e
			IMX95_PAD_SD1_DATA2__USDHC1_DATA2		0x138e
			IMX95_PAD_SD1_DATA3__USDHC1_DATA3		0x138e
			IMX95_PAD_SD1_DATA4__USDHC1_DATA4		0x138e
			IMX95_PAD_SD1_DATA5__USDHC1_DATA5		0x138e
			IMX95_PAD_SD1_DATA6__USDHC1_DATA6		0x138e
			IMX95_PAD_SD1_DATA7__USDHC1_DATA7		0x138e
			IMX95_PAD_SD1_STROBE__USDHC1_STROBE		0x158e
		>;
	};

	pinctrl_usdhc1_200mhz: usdhc1-200mhzgrp {
		fsl,pins = <
			IMX95_PAD_SD1_CLK__USDHC1_CLK			0x15fe
			IMX95_PAD_SD1_CMD__USDHC1_CMD			0x13fe
			IMX95_PAD_SD1_DATA0__USDHC1_DATA0		0x13fe
			IMX95_PAD_SD1_DATA1__USDHC1_DATA1		0x13fe
			IMX95_PAD_SD1_DATA2__USDHC1_DATA2		0x13fe
			IMX95_PAD_SD1_DATA3__USDHC1_DATA3		0x13fe
			IMX95_PAD_SD1_DATA4__USDHC1_DATA4		0x13fe
			IMX95_PAD_SD1_DATA5__USDHC1_DATA5		0x13fe
			IMX95_PAD_SD1_DATA6__USDHC1_DATA6		0x13fe
			IMX95_PAD_SD1_DATA7__USDHC1_DATA7		0x13fe
			IMX95_PAD_SD1_STROBE__USDHC1_STROBE		0x15fe
		>;
	};

	pinctrl_reg_usdhc2_vmmc: regusdhc2vmmcgrp {
		fsl,pins = <
			IMX95_PAD_SD2_RESET_B__GPIO3_IO_BIT7		0x31e
		>;
	};

	pinctrl_usdhc2_gpio: usdhc2gpiogrp {
		fsl,pins = <
			IMX95_PAD_SD2_CD_B__GPIO3_IO_BIT0		0x31e
		>;
	};

	pinctrl_usdhc2: usdhc2grp {
		fsl,pins = <
			IMX95_PAD_SD2_CLK__USDHC2_CLK			0x158e
			IMX95_PAD_SD2_CMD__USDHC2_CMD			0x138e
			IMX95_PAD_SD2_DATA0__USDHC2_DATA0		0x138e
			IMX95_PAD_SD2_DATA1__USDHC2_DATA1		0x138e
			IMX95_PAD_SD2_DATA2__USDHC2_DATA2		0x138e
			IMX95_PAD_SD2_DATA3__USDHC2_DATA3		0x138e
			IMX95_PAD_SD2_VSELECT__USDHC2_VSELECT		0x51e
		>;
	};

	pinctrl_usdhc2_100mhz: usdhc2-100mhzgrp {
		fsl,pins = <
			IMX95_PAD_SD2_CLK__USDHC2_CLK			0x158e
			IMX95_PAD_SD2_CMD__USDHC2_CMD			0x138e
			IMX95_PAD_SD2_DATA0__USDHC2_DATA0		0x138e
			IMX95_PAD_SD2_DATA1__USDHC2_DATA1		0x138e
			IMX95_PAD_SD2_DATA2__USDHC2_DATA2		0x138e
			IMX95_PAD_SD2_DATA3__USDHC2_DATA3		0x138e
			IMX95_PAD_SD2_VSELECT__USDHC2_VSELECT		0x51e
		>;
	};

	pinctrl_usdhc2_200mhz: usdhc2-200mhzgrp {
		fsl,pins = <
			IMX95_PAD_SD2_CLK__USDHC2_CLK			0x158e
			IMX95_PAD_SD2_CMD__USDHC2_CMD			0x138e
			IMX95_PAD_SD2_DATA0__USDHC2_DATA0		0x138e
			IMX95_PAD_SD2_DATA1__USDHC2_DATA1		0x138e
			IMX95_PAD_SD2_DATA2__USDHC2_DATA2		0x138e
			IMX95_PAD_SD2_DATA3__USDHC2_DATA3		0x138e
			IMX95_PAD_SD2_VSELECT__USDHC2_VSELECT		0x51e
		>;
	};

	pinctrl_usdhc3: usdhc3grp {
		fsl,pins = <
			IMX95_PAD_SD3_CLK__USDHC3_CLK				0x158e
			IMX95_PAD_SD3_CMD__USDHC3_CMD				0x138e
			IMX95_PAD_SD3_DATA0__USDHC3_DATA0			0x138e
			IMX95_PAD_SD3_DATA1__USDHC3_DATA1			0x138e
			IMX95_PAD_SD3_DATA2__USDHC3_DATA2			0x138e
			IMX95_PAD_SD3_DATA3__USDHC3_DATA3			0x138e
		>;
	};

	pinctrl_i3c2: i3c2grp {
		fsl,pins = <
			IMX95_PAD_ENET1_MDC__I3C2_SCL			0x40001106
			IMX95_PAD_ENET1_MDIO__I3C2_SDA			0x40001106
		>;
	};

	pinctrl_i3c2_sleep: i3c2sleepgrp {
		fsl,pins = <
			IMX95_PAD_ENET1_MDC__GPIO4_IO_BIT0			0x31e
			IMX95_PAD_ENET1_MDIO__GPIO4_IO_BIT1			0x31e
		>;
	};

	pinctrl_uart4: uart4grp {
		fsl,pins = <
			IMX95_PAD_ENET2_TD0__LPUART4_TX			0x31e
			IMX95_PAD_ENET2_RD0__LPUART4_RX			0x31e
			IMX95_PAD_ENET2_TD1__LPUART4_RTS_B		0x31e
			IMX95_PAD_ENET2_RD2__LPUART4_CTS_B		0x31e

		>;
	};

	pinctrl_uart7: uart7grp {
		fsl,pins = <
			IMX95_PAD_GPIO_IO08__LPUART7_TX			0x31e
			IMX95_PAD_GPIO_IO09__LPUART7_RX			0x31e
			IMX95_PAD_GPIO_IO11__LPUART7_RTS_B		0x31e
			IMX95_PAD_GPIO_IO10__LPUART7_CTS_B		0x31e
		>;
	};

	pinctrl_lpspi4: lpspi4grp {
		fsl,pins = <
			IMX95_PAD_GPIO_IO34__LPSPI4_PCS0		0x3fe
			IMX95_PAD_GPIO_IO33__LPSPI4_PCS1		0x3fe
			IMX95_PAD_GPIO_IO16__LPSPI4_PCS2		0x3fe

			IMX95_PAD_GPIO_IO19__LPSPI4_SIN			0x3fe
			IMX95_PAD_GPIO_IO36__LPSPI4_SOUT		0x3fe
			IMX95_PAD_GPIO_IO37__LPSPI4_SCK			0x3fe
		>;
	};

	pinctrl_i2c3_ioexp21: i2c3_ioexp21grp {
		fsl,pins = <
			IMX95_PAD_ENET2_RD3__GPIO4_IO_BIT27		0x31e
		>;
	};

	pinctrl_ptn5110_usb: ptn5110_usbgrp {
		fsl,pins = <
			IMX95_PAD_ENET2_RD1__GPIO4_IO_BIT25		0x31e
		>;
	};
};

&thermal_zones {
	a55-thermal {
		trips {
			atrip2: trip2 {
				temperature = <55000>;
				hysteresis = <2000>;
				type = "active";
			};

			atrip3: trip3 {
				temperature = <65000>;
				hysteresis = <2000>;
				type = "active";
			};

			atrip4: trip4 {
				temperature = <75000>;
				hysteresis = <2000>;
				type = "active";
			};
		};

		cooling-maps {
			map1 {
				trip = <&atrip2>;
				cooling-device = <&fan0 0 1>;
			};

			map2 {
				trip = <&atrip3>;
				cooling-device = <&fan0 1 2>;
			};

			map3 {
				trip = <&atrip4>;
				cooling-device = <&fan0 2 3>;
			};
		};
	};

	pf09-thermal {
		polling-delay = <2000>;
		polling-delay-passive = <250>;
		thermal-sensors = <&scmi_sensor 2>;

		trips {
			pf09_alert: trip0 {
				hysteresis = <2000>;
				temperature = <140000>;
				type = "passive";
			};

			pf09_crit: trip1 {
				hysteresis = <2000>;
				temperature = <155000>;
				type = "critical";
			};
		};
	};

	pf53arm-thermal {
		polling-delay = <2000>;
		polling-delay-passive = <250>;
		thermal-sensors = <&scmi_sensor 4>;

		cooling-maps {
			map0 {
				trip = <&pf5301_alert>;
				cooling-device =
					<&A55_0 THERMAL_NO_LIMIT THERMAL_NO_LIMIT>,
					<&A55_1 THERMAL_NO_LIMIT THERMAL_NO_LIMIT>,
					<&A55_2 THERMAL_NO_LIMIT THERMAL_NO_LIMIT>,
					<&A55_3 THERMAL_NO_LIMIT THERMAL_NO_LIMIT>,
					<&A55_4 THERMAL_NO_LIMIT THERMAL_NO_LIMIT>,
					<&A55_5 THERMAL_NO_LIMIT THERMAL_NO_LIMIT>;
			};
		};

		trips {
			pf5301_alert: trip0 {
				hysteresis = <2000>;
				temperature = <140000>;
				type = "passive";
			};

			pf5301_crit: trip1 {
				hysteresis = <2000>;
				temperature = <155000>;
				type = "critical";
			};
		};
	};

	pf53soc-thermal {
		polling-delay = <2000>;
		polling-delay-passive = <250>;
		thermal-sensors = <&scmi_sensor 3>;

		trips {
			pf5302_alert: trip0 {
				hysteresis = <2000>;
				temperature = <140000>;
				type = "passive";
			};

			pf5302_crit: trip1 {
				hysteresis = <2000>;
				temperature = <155000>;
				type = "critical";
			};
		};
	};
};

&mali {
	protected-memory-allocator = <&mali_pma>;
};

&gpio2 {
	status = "disabled";
};

&vpuctrl {
	boot = <&vpu_boot>;
	sram = <&sram1>;
};
